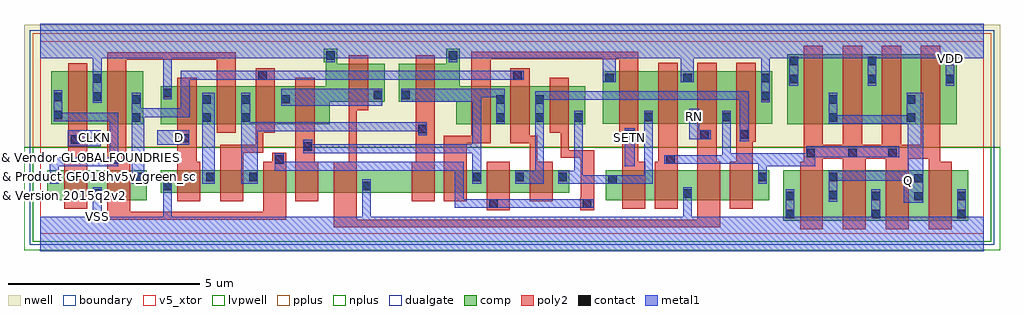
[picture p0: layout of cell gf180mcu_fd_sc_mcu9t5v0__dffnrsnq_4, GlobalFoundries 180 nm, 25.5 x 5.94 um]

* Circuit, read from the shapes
.subckt gf180mcu_fd_sc_mcu9t5v0__dffnrsnq_4 CLKN D Q RN SETN VDD VSS
XM1 VSS CLKN n1 VSUBS nfet_05v0 w=0.79u l=0.6u
XM2 n2 n1 VSS VSUBS nfet_05v0 w=0.79u l=0.6u
XM3 n3 D VSS VSUBS nfet_05v0 w=0.59u l=0.6u
XM4 n4 n2 n3 VSUBS nfet_05v0 w=0.59u l=0.6u
XM5 n5 n1 n4 VSUBS nfet_05v0 w=0.59u l=0.6u
XM6 n6 n7 n5 VSUBS nfet_05v0 w=0.59u l=0.6u
XM7 VSS RN n6 VSUBS nfet_05v0 w=0.59u l=0.6u
XM8 n8 n4 VSS VSUBS nfet_05v0 w=0.59u l=0.6u
XM9 n7 SETN n8 VSUBS nfet_05v0 w=0.59u l=0.6u
XM10 n9 n1 n7 VSUBS nfet_05v0 w=0.59u l=0.6u
XM11 n10 n2 n9 VSUBS nfet_05v0 w=0.59u l=0.6u
XM12 n11 SETN n10 VSUBS nfet_05v0 w=0.79u l=0.6u
XM13 VSS n12 n11 VSUBS nfet_05v0 w=0.79u l=0.6u
XM14 n13 RN VSS VSUBS nfet_05v0 w=0.79u l=0.6u
XM15 n12 n9 n13 VSUBS nfet_05v0 w=0.79u l=0.6u
XM16 Q n12 VSS VSUBS nfet_05v0 w=1.32u l=0.6u m=4
XM17 VDD CLKN n1 n14 pfet_05v0 w=1.38u l=0.5u
XM18 n2 n1 VDD n14 pfet_05v0 w=1.38u l=0.5u
XM19 n3 D VDD n14 pfet_05v0 w=1u l=0.5u
XM20 n4 n1 n3 n14 pfet_05v0 w=1u l=0.5u
XM21 n15 n2 n4 n14 pfet_05v0 w=1u l=0.5u
XM22 VDD n7 n15 n14 pfet_05v0 w=1u l=0.5u
XM23 n15 RN VDD n14 pfet_05v0 w=1u l=0.5u
XM24 VDD n4 n7 n14 pfet_05v0 w=1u l=0.5u
XM25 n7 SETN VDD n14 pfet_05v0 w=1u l=0.5u
XM26 n9 n2 n7 n14 pfet_05v0 w=1u l=0.5u
XM27 n10 n1 n9 n14 pfet_05v0 w=1u l=0.5u
XM28 n10 SETN VDD n14 pfet_05v0 w=1.38u l=0.5u
XM29 VDD n12 n10 n14 pfet_05v0 w=1.38u l=0.5u
XM30 n12 RN VDD n14 pfet_05v0 w=1.38u l=0.5u
XM31 VDD n9 n12 n14 pfet_05v0 w=1.38u l=0.5u
XM32 Q n12 VDD n14 pfet_05v0 w=1.83u l=0.5u m=4
.ends

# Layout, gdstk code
import gdstk
lib = gdstk.Library(unit=1e-6, precision=1e-09)
def R(c, l, rs):  # rectangles x0, y0, x1, y1
    for r in rs: c.add(gdstk.rectangle(r[:2], r[2:], *l))
def A(c, l, x, y, w, h, nx, ny, dx, dy):  # array of equal rectangles
    R(c, l, [(x+i*dx, y+j*dy, x+i*dx+w, y+j*dy+h) for i in range(nx) for j in range(ny)])
def P(c, l, *ps):  # polygons
    for p in ps: c.add(gdstk.Polygon(p, *l))
boundary = (0, 0)
nwell = (21, 0)
comp = (22, 0)
poly2 = (30, 0)
pplus = (31, 0)
nplus = (32, 0)
contact = (33, 0)
metal1 = (34, 0)
dualgate = (55, 0)
v5_xtor = (112, 1)
lvpwell = (204, 0)

gf180mcu_fd_sc_mcu9t5v0_ = lib.new_cell('gf180mcu_fd_sc_mcu9t5v0__dffnrsnq_4')
R(gf180mcu_fd_sc_mcu9t5v0_, boundary, [(0,0,24.64,5.04)])
R(gf180mcu_fd_sc_mcu9t5v0_, nwell, [(-0.43,2.265,25.07,5.47)])
R(gf180mcu_fd_sc_mcu9t5v0_, comp, [(19.405,0.345,24.245,1.665), (0.18,0.875,2.78,1.665), (14.765,0.875,19.045,1.665), (3.14,1.075,13.82,1.665), (0.28,2.865,2.68,4.245), (19.505,2.865,23.945,4.695), (14.685,2.875,19.125,4.255)])
P(gf180mcu_fd_sc_mcu9t5v0_, comp, [(3.14,2.865),(3.14,3.865),(7.46,3.865),(7.46,4.48),(7.4,4.48),(7.4,4.84),(7.76,4.84),(7.76,4.45),(9,4.45),(9,3.45),(7.56,3.45),(7.56,2.865)],
  [(10.86,2.865),(10.86,3.45),(9.36,3.45),(9.36,4.45),(10.6,4.45),(10.6,4.84),(10.96,4.84),(10.96,3.865),(14.24,3.865),(14.24,2.865)])
R(gf180mcu_fd_sc_mcu9t5v0_, poly2, [(11.66,0.615,12.26,1.885)])
P(gf180mcu_fd_sc_mcu9t5v0_, poly2, [(0.62,0.655),(0.62,1.885),(0.72,1.885),(0.72,4.465),(1.22,4.465),(1.22,0.655)],
  [(3.58,0.855),(3.58,4.085),(4.08,4.085),(4.08,1.885),(4.18,1.885),(4.18,0.855)],
  [(4.7,0.855),(4.7,2.325),(5.62,2.325),(5.62,4.325),(6.12,4.325),(6.12,2.645),(5.82,2.645),(5.82,2.125),(5.3,2.125),(5.3,0.855)],
  [(1.74,0.375),(1.74,4.745),(5.1,4.745),(5.1,2.645),(4.6,2.645),(4.6,4.545),(2.24,4.545),(2.24,1.885),(2.34,1.885),(2.34,0.575),(5.82,0.575),(5.82,1.885),(6.06,1.885),(6.06,2.125),(6.42,2.125),(6.42,0.375)],
  [(6.66,0.855),(6.66,4.085),(7.16,4.085),(7.16,1.885),(7.26,1.885),(7.26,0.855)],
  [(9.7,0.855),(9.7,1.885),(9.8,1.885),(9.8,4.67),(10.3,4.67),(10.3,0.855)],
  [(12.78,0.855),(12.78,2.365),(12.28,2.365),(12.28,4.325),(12.78,4.325),(12.78,2.565),(12.98,2.565),(12.98,1.885),(13.38,1.885),(13.38,0.855)],
  [(14.105,0.615),(14.105,0.95),(14.12,0.95),(14.12,1.985),(13.6,1.985),(13.6,2.645),(13.3,2.645),(13.3,4.085),(13.8,4.085),(13.8,2.185),(14.465,2.185),(14.465,0.615)],
  [(15.205,0.655),(15.205,2.655),(15.125,2.655),(15.125,4.565),(11.76,4.565),(11.76,2.365),(11.14,2.365),(11.14,0.855),(10.54,0.855),(10.54,2.565),(11.26,2.565),(11.26,4.765),(15.625,4.765),(15.625,1.885),(15.805,1.885),(15.805,0.655)],
  [(16.045,0.655),(16.045,1.885),(16.145,1.885),(16.145,4.475),(16.645,4.475),(16.645,0.655)],
  [(7.66,0.175),(7.66,1.885),(8.06,1.885),(8.06,4.67),(8.56,4.67),(8.56,3.23),(8.26,3.23),(8.26,0.375),(17.165,0.375),(17.165,4.475),(17.665,4.475),(17.665,1.885),(17.765,1.885),(17.765,0.175)],
  [(18.005,0.655),(18.005,1.885),(18.185,1.885),(18.185,4.475),(18.685,4.475),(18.685,2.415),(18.605,2.415),(18.605,0.655)],
  [(19.845,0.125),(19.845,1.885),(19.945,1.885),(19.945,4.915),(20.445,4.915),(20.445,2.325),(20.965,2.325),(20.965,4.915),(21.465,4.915),(21.465,2.325),(21.985,2.325),(21.985,4.915),(22.485,4.915),(22.485,2.325),(23.005,2.325),(23.005,4.915),(23.505,4.915),(23.505,1.885),(23.805,1.885),(23.805,0.125),(23.205,0.125),(23.205,1.965),(22.685,1.965),(22.685,0.125),(22.085,0.125),(22.085,1.965),(21.565,1.965),(21.565,0.125),(20.965,0.125),(20.965,1.965),(20.445,1.965),(20.445,0.125)])
R(gf180mcu_fd_sc_mcu9t5v0_, pplus, [(-0.2,2.265,24.84,5.24)])
R(gf180mcu_fd_sc_mcu9t5v0_, nplus, [(-0.2,-0.2,24.84,2.265)])
A(gf180mcu_fd_sc_mcu9t5v0_, contact, 19.475, 0.415, 0.22, 0.22, 3, 2, 2.24, 0.47)
A(gf180mcu_fd_sc_mcu9t5v0_, contact, 11.29, 1.375, 0.22, 0.22, 3, 1, 1.12, 0)
A(gf180mcu_fd_sc_mcu9t5v0_, contact, 11.91, 2.935, 0.22, 0.22, 3, 1, 1.02, 0)
A(gf180mcu_fd_sc_mcu9t5v0_, contact, 19.575, 3.935, 0.22, 0.22, 3, 2, 2.04, 0.47)
A(gf180mcu_fd_sc_mcu9t5v0_, contact, 14.755, 3.965, 0.22, 0.22, 3, 1, 2.04, 0)
R(gf180mcu_fd_sc_mcu9t5v0_, contact, [(11.73,0.685,11.95,0.905), (14.175,0.685,14.395,0.905), (22.835,0.875,23.055,1.095), (20.595,0.905,20.815,1.125), (1.37,0.945,1.59,1.165), (16.795,0.945,17.015,1.165), (3.21,1.145,3.43,1.365), (8.41,1.145,8.63,1.365), (14.835,1.315,15.055,1.535), (22.835,1.345,23.055,1.565), (0.25,1.375,0.47,1.595), (2.49,1.375,2.71,1.595), (4.33,1.375,4.55,1.595), (5.45,1.375,5.67,1.595), (18.755,1.375,18.975,1.595), (20.595,1.375,20.815,1.595), (1.81,1.835,2.03,2.055), (6.13,1.835,6.35,2.055), (16.355,1.835,16.575,2.055), (20.015,2.01,20.235,2.23), (21.11,2.01,21.33,2.23), (22.155,2.01,22.375,2.23), (6.87,2.175,7.09,2.395), (0.79,2.355,1.01,2.575), (3.65,2.39,3.87,2.61), (15.275,2.485,15.495,2.705), (17.235,2.485,17.455,2.705), (18.275,2.485,18.495,2.705), (9.87,2.635,10.09,2.855), (2.39,2.935,2.61,3.155), (4.23,2.935,4.45,3.155), (5.25,2.935,5.47,3.155), (20.595,2.935,20.815,3.155), (22.635,2.935,22.855,3.155), (15.775,2.945,15.995,3.165), (17.815,2.945,18.035,3.165), (0.35,3,0.57,3.22), (2.39,3.405,2.61,3.625), (4.23,3.405,4.45,3.625), (5.25,3.405,5.47,3.625), (11.91,3.405,12.13,3.625), (12.93,3.405,13.15,3.625), (20.595,3.405,20.815,3.625), (22.635,3.405,22.855,3.625), (6.29,3.41,6.51,3.63), (0.35,3.47,0.57,3.69), (1.37,3.485,1.59,3.705), (18.835,3.495,19.055,3.715), (8.71,3.52,8.93,3.74), (9.43,3.52,9.65,3.74), (3.21,3.575,3.43,3.795), (1.37,3.955,1.59,4.175), (5.69,4.035,5.91,4.255), (12.35,4.035,12.57,4.255), (7.47,4.55,7.69,4.77), (10.67,4.55,10.89,4.77)])
R(gf180mcu_fd_sc_mcu9t5v0_, metal1, [(4.225,1.315,4.555,3.685), (15.27,1.77,15.53,2.765), (0.71,2.295,1.57,2.71), (3.055,2.33,3.89,2.71), (6.285,3.35,8.935,3.8)])
P(gf180mcu_fd_sc_mcu9t5v0_, metal1, [(0.245,1.315),(0.245,2.005),(1.805,2.005),(1.805,2.94),(0.345,2.94),(0.345,3.75),(0.575,3.75),(0.575,3.17),(2.035,3.17),(2.035,1.775),(0.475,1.775),(0.475,1.315)],
  [(5.245,1.315),(5.245,3.685),(5.475,3.685),(5.475,2.915),(10.095,2.915),(10.095,2.575),(9.865,2.575),(9.865,2.685),(5.675,2.685),(5.675,1.315)],
  [(11.285,1.315),(11.285,2.115),(6.865,2.115),(6.865,2.455),(7.095,2.455),(7.095,2.345),(11.285,2.345),(11.285,3.46),(9.425,3.46),(9.425,3.8),(12.135,3.8),(12.135,2.875),(11.905,2.875),(11.905,3.57),(11.515,3.57),(11.515,1.315)],
  [(2.385,1.315),(2.385,3.685),(2.615,3.685),(2.615,3.285),(3.665,3.285),(3.665,4.26),(12.63,4.26),(12.63,4.03),(3.895,4.03),(3.895,3.055),(2.715,3.055),(2.715,1.315)],
  [(10.825,0.68),(10.825,1.655),(6.125,1.655),(6.125,2.115),(6.355,2.115),(6.355,1.885),(11.055,1.885),(11.055,0.91),(14.455,0.91),(14.455,0.68)],
  [(13.525,1.31),(13.525,1.655),(13.945,1.655),(13.945,3.215),(14.175,3.215),(14.175,1.54),(15.77,1.54),(15.77,3.225),(16,3.225),(16,1.31)],
  [(16.95,2.48),(16.95,3.27),(17.21,3.27),(17.21,2.71),(17.515,2.71),(17.515,2.48)],
  [(12.405,1.315),(12.405,1.655),(12.925,1.655),(12.925,3.73),(18.5,3.73),(18.5,2.425),(18.27,2.425),(18.27,3.5),(13.155,3.5),(13.155,1.315)],
  [(18.75,1.315),(18.75,1.83),(16.295,1.83),(16.295,2.06),(17.81,2.06),(17.81,3.225),(18.04,3.225),(18.04,2.115),(20.01,2.115),(20.01,2.29),(22.435,2.29),(22.435,2.005),(20.24,2.005),(20.24,1.775),(18.98,1.775),(18.98,1.315)],
  [(22.55,0.815),(22.55,1.395),(20.82,1.395),(20.82,0.845),(20.59,0.845),(20.59,1.655),(22.665,1.655),(22.665,2.875),(20.59,2.875),(20.59,3.685),(20.82,3.685),(20.82,3.105),(22.63,3.105),(22.63,3.685),(23.06,3.685),(23.06,0.815)],
  [(0,-0.45),(0,0.45),(1.365,0.45),(1.365,1.225),(1.595,1.225),(1.595,0.45),(3.205,0.45),(3.205,1.425),(3.435,1.425),(3.435,0.45),(8.405,0.45),(8.405,1.425),(8.635,1.425),(8.635,0.45),(16.79,0.45),(16.79,1.225),(17.02,1.225),(17.02,0.45),(19.47,0.45),(19.47,1.165),(19.7,1.165),(19.7,0.45),(21.71,0.45),(21.71,1.165),(21.94,1.165),(21.94,0.45),(23.95,0.45),(23.95,1.165),(24.18,1.165),(24.18,0.45),(24.64,0.45),(24.64,-0.45)],
  [(1.365,3.425),(1.365,4.59),(0,4.59),(0,5.49),(24.64,5.49),(24.64,4.59),(23.88,4.59),(23.88,3.875),(23.65,3.875),(23.65,4.59),(21.84,4.59),(21.84,3.875),(21.61,3.875),(21.61,4.59),(19.8,4.59),(19.8,3.875),(19.57,3.875),(19.57,4.59),(19.06,4.59),(19.06,3.435),(18.83,3.435),(18.83,4.59),(17.075,4.59),(17.075,3.96),(16.735,3.96),(16.735,4.59),(15.035,4.59),(15.035,3.96),(14.695,3.96),(14.695,4.59),(10.895,4.59),(10.895,4.49),(10.665,4.49),(10.665,4.59),(7.695,4.59),(7.695,4.49),(7.465,4.49),(7.465,4.59),(3.435,4.59),(3.435,3.515),(3.205,3.515),(3.205,4.59),(1.595,4.59),(1.595,3.425)])
R(gf180mcu_fd_sc_mcu9t5v0_, dualgate, [(-0.28,-0.28,24.92,5.32)])
R(gf180mcu_fd_sc_mcu9t5v0_, v5_xtor, [(0,0,24.64,5.04)])
R(gf180mcu_fd_sc_mcu9t5v0_, lvpwell, [(-0.43,-0.43,25.07,2.265)])
gf180mcu_fd_sc_mcu9t5v0_.add(gdstk.Label('CLKN', (1.4,2.52), layer=34, texttype=10))
gf180mcu_fd_sc_mcu9t5v0_.add(gdstk.Label('D', (3.64,2.52), layer=34, texttype=10))
gf180mcu_fd_sc_mcu9t5v0_.add(gdstk.Label('Q', (22.68,1.4), layer=34, texttype=10))
gf180mcu_fd_sc_mcu9t5v0_.add(gdstk.Label('RN', (17.08,3.08), layer=34, texttype=10))
gf180mcu_fd_sc_mcu9t5v0_.add(gdstk.Label('SETN', (15.4,2.52), layer=34, texttype=10))
gf180mcu_fd_sc_mcu9t5v0_.add(gdstk.Label('VDD', (23.765,4.59), layer=34, texttype=10))
gf180mcu_fd_sc_mcu9t5v0_.add(gdstk.Label('VSS', (1.48,0.45), layer=34, texttype=10))
gf180mcu_fd_sc_mcu9t5v0_.add(gdstk.Label('& Vendor GLOBALFOUNDRIES', (0,2), layer=63, texttype=63))
gf180mcu_fd_sc_mcu9t5v0_.add(gdstk.Label('& Product GF018hv5v_green_sc9', (0,1.5), layer=63, texttype=63))
gf180mcu_fd_sc_mcu9t5v0_.add(gdstk.Label('& Version 2015q2v2', (0,1), layer=63, texttype=63))
gf180mcu_fd_sc_mcu9t5v0_.add(gdstk.Label('& Metric 1.00', (0,0.5), layer=63, texttype=63))

lib.write_gds('gf180mcu_fd_sc_mcu9t5v0__dffnrsnq_4.gds')
